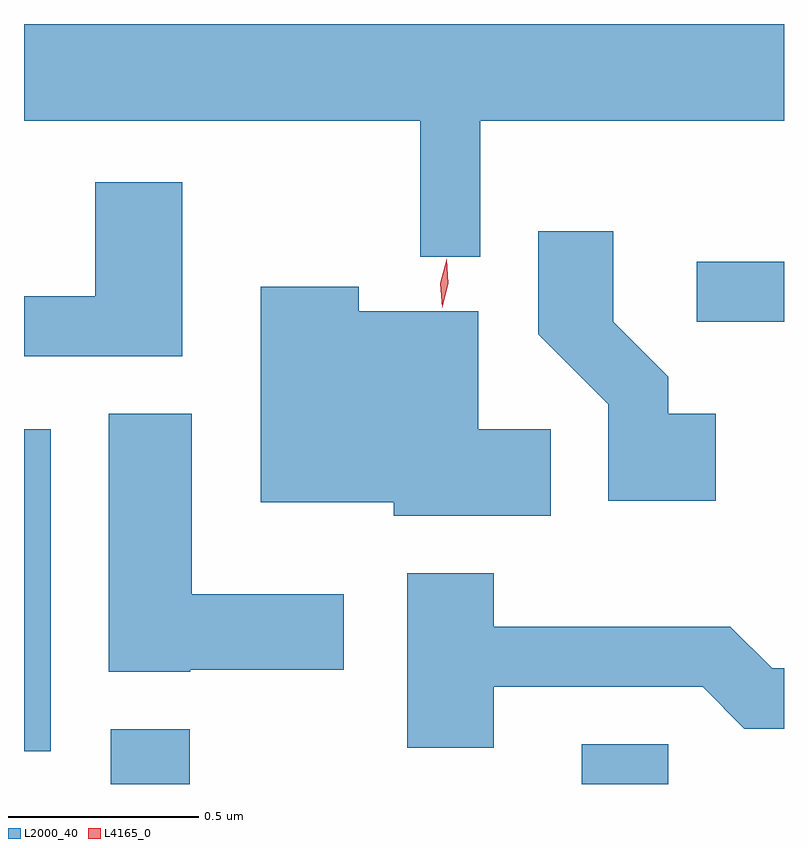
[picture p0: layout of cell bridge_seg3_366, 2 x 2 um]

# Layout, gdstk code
import gdstk
lib = gdstk.Library(unit=1e-6, precision=1e-09)
def R(c, l, rs):  # rectangles x0, y0, x1, y1
    for r in rs: c.add(gdstk.rectangle(r[:2], r[2:], *l))
def P(c, l, *ps):  # polygons
    for p in ps: c.add(gdstk.Polygon(p, *l))
L2000_40 = (2000, 40)
L4165_0 = (4165, 0)

bridge_seg3_366 = lib.new_cell('bridge_seg3_366')
R(bridge_seg3_366, L2000_40, [(638.191,1213.07,638.399,1213.214), (639.431,1213.07,639.659,1213.174), (637.963,1213.156,638.034,1214.004), (639.733,1214.286,639.963,1214.444)])
P(bridge_seg3_366, L2000_40, [(639.164,1214.816),(639.963,1214.816),(639.963,1215.07),(637.963,1215.07),(637.963,1214.816),(639.006,1214.816),(639.006,1214.458),(639.164,1214.458)],
  [(638.379,1214.654),(638.151,1214.654),(638.151,1214.354),(637.963,1214.354),(637.963,1214.196),(638.379,1214.196)],
  [(639.784,1214.044),(639.659,1214.044),(639.659,1214.142),(639.514,1214.287),(639.514,1214.524),(639.316,1214.524),(639.316,1214.254),(639.501,1214.069),(639.501,1213.816),(639.784,1213.816)],
  [(639.349,1214.004),(639.159,1214.004),(639.159,1214.314),(638.844,1214.314),(638.844,1214.379),(638.586,1214.379),(638.586,1213.811),(638.936,1213.811),(638.936,1213.776),(639.349,1213.776)],
  [(638.4,1213.371),(638.804,1213.371),(638.804,1213.569),(638.404,1213.569),(638.404,1214.044),(638.186,1214.044),(638.186,1213.366),(638.4,1213.366)],
  [(639.199,1213.326),(639.749,1213.326),(639.859,1213.216),(639.963,1213.216),(639.963,1213.374),(639.932,1213.374),(639.822,1213.484),(639.199,1213.484),(639.199,1213.624),(638.971,1213.624),(638.971,1213.166),(639.199,1213.166)])
P(bridge_seg3_366, L4165_0, [(639.063,1214.323),(639.063,1214.323),(639.059,1214.388),(639.075,1214.451),(639.076,1214.452),(639.076,1214.451),(639.08,1214.386),(639.064,1214.323)])

lib.write_gds('bridge_seg3_366.gds')
